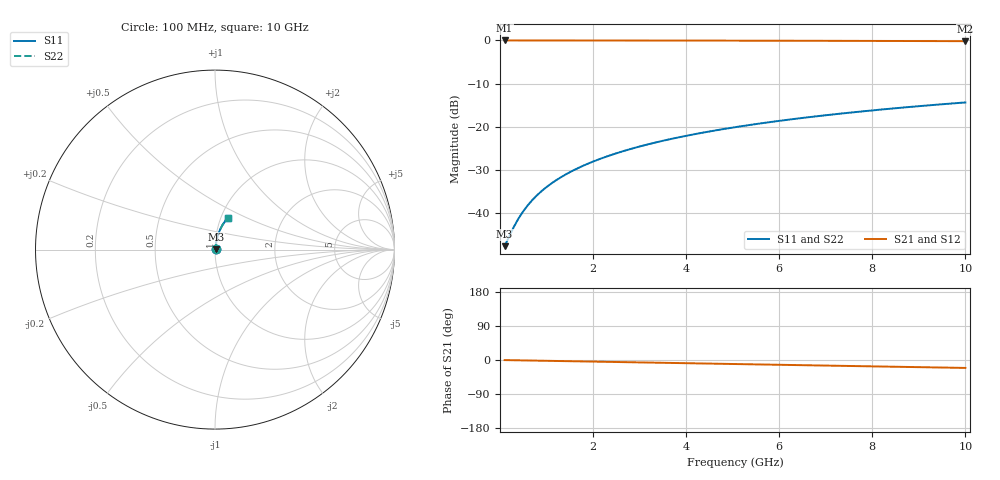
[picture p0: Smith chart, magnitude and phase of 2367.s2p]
# Hz S RI R 50.00
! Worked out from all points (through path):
!   100 points, 100 MHz to 10 GHz, reference 50 ohm
!   highest |S21| = -0.03 dB at 100 MHz (marker M1); lowest = -0.2 dB at 10 GHz (marker M2)
!   group delay of S21, straight-line fit = 5.82 ps
!   lowest |S11| = -47.6 dB at 100 MHz (marker M3), VSWR 1.01, Z = 50.4 + j0.197 ohm
!   |S11| at or under -10 dB: start of sweep to end of sweep
!   |S22| runs from -47.6 to -14.4 dB; largest |S21 - S12| = 0
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1e8  0.00367 0.00196  0.9963 -0.00367  0.9963 -0.00367  0.00367 0.00196
3e8  0.00377 0.00588  0.9962 -0.011  0.9962 -0.011  0.00377 0.00588
4e8  0.00384 0.00783  0.9961 -0.0147  0.9961 -0.0147  0.00384 0.00783
5e8  0.00391 0.00979  0.996 -0.0183  0.996 -0.0183  0.00391 0.00979
6e8  0.004 0.0117  0.9959 -0.022  0.9959 -0.022  0.004 0.0117
7e8  0.00411 0.0137  0.9958 -0.0257  0.9958 -0.0257  0.00411 0.0137
8e8  0.00422 0.0157  0.9957 -0.0293  0.9957 -0.0293  0.00422 0.0157
9e8  0.00435 0.0176  0.9955 -0.033  0.9955 -0.033  0.00435 0.0176
1e9  0.0045 0.0196  0.9953 -0.0367  0.9953 -0.0367  0.0045 0.0196
1.2e9  0.00483 0.0235  0.9949 -0.044  0.9949 -0.044  0.00483 0.0235
1.5e9  0.00543 0.0293  0.9942 -0.055  0.9942 -0.055  0.00543 0.0293
1.8e9  0.00616 0.0351  0.9933 -0.0659  0.9933 -0.0659  0.00616 0.0351
2.1e9  0.00701 0.0409  0.9923 -0.0769  0.9923 -0.0769  0.00701 0.0409
2.5e9  0.00835 0.0487  0.9907 -0.0914  0.9907 -0.0914  0.00835 0.0487
2.9e9  0.00991 0.0563  0.9888 -0.106  0.9888 -0.106  0.00991 0.0563
3.4e9  0.0122 0.0658  0.9861 -0.124  0.9861 -0.124  0.0122 0.0658
4.2e9  0.0165 0.0808  0.9808 -0.1528  0.9808 -0.1528  0.0165 0.0808
5.1e9  0.0224 0.0973  0.9737 -0.1847  0.9737 -0.1847  0.0224 0.0973
5.9e9  0.0286 0.1116  0.9662 -0.2127  0.9662 -0.2127  0.0286 0.1116
6.7e9  0.0355 0.1254  0.9578 -0.2404  0.9578 -0.2404  0.0355 0.1254
8.4e9  0.0528 0.1532  0.9366 -0.2975  0.9366 -0.2975  0.0528 0.1532
1e10  0.0719 0.1772  0.913 -0.3491  0.913 -0.3491  0.0719 0.1772
